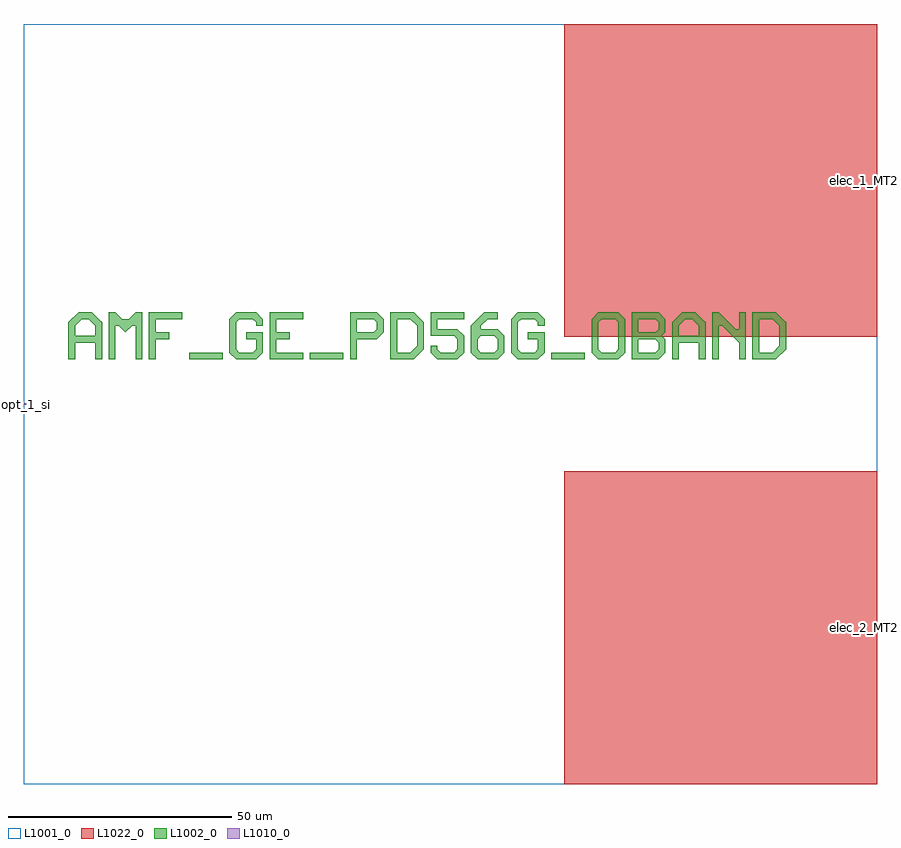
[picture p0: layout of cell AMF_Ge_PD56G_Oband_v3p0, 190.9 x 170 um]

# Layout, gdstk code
import gdstk
lib = gdstk.Library(unit=1e-6, precision=1e-09)
def R(c, l, rs):  # rectangles x0, y0, x1, y1
    for r in rs: c.add(gdstk.rectangle(r[:2], r[2:], *l))
def P(c, l, *ps):  # polygons
    for p in ps: c.add(gdstk.Polygon(p, *l))
L1001_0 = (1001, 0)
L1002_0 = (1002, 0)
L1010_0 = (1010, 0)
L1022_0 = (1022, 0)

amf_ge_pd56g_oband_v3p0 = lib.new_cell('AMF_Ge_PD56G_Oband_v3p0')
R(amf_ge_pd56g_oband_v3p0, L1001_0, [(0,-85,190.9,85)])
R(amf_ge_pd56g_oband_v3p0, L1002_0, [(37,10,44.5,11.5), (64,10,71.5,11.5), (118,10,125.5,11.5)])
P(amf_ge_pd56g_oband_v3p0, L1002_0, [(10,10),(10,18.25),(12.25,20.5),(15.25,20.5),(16.75,19),(13,19),(11.5,17.5),(11.5,15.25),(16,15.25),(16,17.5),(14.5,19),(16.75,19),(17.5,18.25),(17.5,10),(16,10),(16,13.75),(11.5,13.75),(11.5,10)],
  [(19,10),(19,20.5),(20.5,20.5),(22,19),(23.5,19),(25,20.5),(26.5,20.5),(26.5,10),(25,10),(25,17.5),(24.25,17.5),(22.75,16),(21.25,17.5),(20.5,17.5),(20.5,10)],
  [(28,10),(28,20.5),(35.5,20.5),(35.5,19),(29.5,19),(29.5,16),(32.5,16),(32.5,14.5),(29.5,14.5),(29.5,10)],
  [(47.5,10),(46,11.5),(46,19),(47.5,20.5),(52,20.5),(53.5,19),(53.5,17.5),(52,17.5),(52,18.25),(51.25,19),(48.25,19),(47.5,18.25),(47.5,12.25),(48.25,11.5),(51.25,11.5),(52,12.25),(52,14.5),(49.75,14.5),(49.75,16),(53.5,16),(53.5,11.5),(52,10)],
  [(55,10),(55,20.5),(62.5,20.5),(62.5,19),(56.5,19),(56.5,16),(59.5,16),(59.5,14.5),(56.5,14.5),(56.5,11.5),(62.5,11.5),(62.5,10)],
  [(73,10),(73,20.5),(79,20.5),(80.5,19),(80.5,16),(79,14.5),(74.5,14.5),(74.5,16),(78.25,16),(79,16.75),(79,18.25),(78.25,19),(74.5,19),(74.5,10)],
  [(82,10),(82,20.5),(87.25,20.5),(88.75,19),(83.5,19),(83.5,11.5),(86.5,11.5),(88,13),(88,17.5),(86.5,19),(88.75,19),(89.5,18.25),(89.5,12.25),(87.25,10)],
  [(92.5,10),(91,11.5),(91,13),(92.5,13),(92.5,12.25),(93.25,11.5),(96.25,11.5),(97,12.25),(97,14.5),(96.25,15.25),(91,15.25),(91,20.5),(98.5,20.5),(98.5,19),(92.5,19),(92.5,16.75),(97,16.75),(98.5,15.25),(98.5,11.5),(97,10)],
  [(101.5,10),(100,11.5),(100,17.5),(103,20.5),(106,20.5),(106,19),(103.75,19),(102.25,17.5),(102.25,16.75),(106,16.75),(107.5,15.25),(102.25,15.25),(101.5,14.5),(101.5,12.25),(102.25,11.5),(105.25,11.5),(106,12.25),(106,14.5),(105.25,15.25),(107.5,15.25),(107.5,11.5),(106,10)],
  [(110.5,10),(109,11.5),(109,19),(110.5,20.5),(115,20.5),(116.5,19),(116.5,17.5),(115,17.5),(115,18.25),(114.25,19),(111.25,19),(110.5,18.25),(110.5,12.25),(111.25,11.5),(114.25,11.5),(115,12.25),(115,14.5),(112.75,14.5),(112.75,16),(116.5,16),(116.5,11.5),(115,10)],
  [(128.5,10),(127,11.5),(127,19),(128.5,20.5),(133,20.5),(134.5,19),(134.5,15.25),(133,15.25),(133,18.25),(132.25,19),(129.25,19),(128.5,18.25),(128.5,12.25),(129.25,11.5),(132.25,11.5),(133,12.25),(133,15.25),(134.5,15.25),(134.5,11.5),(133,10)],
  [(136,10),(136,20.5),(142,20.5),(143.5,19),(137.5,19),(137.5,16),(141.25,16),(142,16.75),(142,18.25),(141.25,19),(143.5,19),(143.5,16),(142.75,15.25),(143.5,14.5),(137.5,14.5),(137.5,11.5),(141.25,11.5),(142,12.25),(142,13.75),(141.25,14.5),(143.5,14.5),(143.5,11.5),(142,10)],
  [(145,10),(145,18.25),(147.25,20.5),(150.25,20.5),(151.75,19),(148,19),(146.5,17.5),(146.5,15.25),(151,15.25),(151,17.5),(149.5,19),(151.75,19),(152.5,18.25),(152.5,10),(151,10),(151,13.75),(146.5,13.75),(146.5,10)],
  [(154,10),(154,20.5),(155.5,20.5),(159.25,16.75),(160,16.75),(160,20.5),(161.5,20.5),(161.5,10),(160,10),(160,13.75),(156.25,17.5),(155.5,17.5),(155.5,10)],
  [(163,10),(163,20.5),(168.25,20.5),(169.75,19),(164.5,19),(164.5,11.5),(167.5,11.5),(169,13),(169,17.5),(167.5,19),(169.75,19),(170.5,18.25),(170.5,12.25),(168.25,10)])
R(amf_ge_pd56g_oband_v3p0, L1010_0, [(0,-0.205,0.5,0.205)])
R(amf_ge_pd56g_oband_v3p0, L1022_0, [(120.9,-85,190.9,-15), (120.9,15,190.9,85)])
amf_ge_pd56g_oband_v3p0.add(gdstk.Label('opt_1_si', (0,0), layer=1010, texttype=0))
amf_ge_pd56g_oband_v3p0.add(gdstk.Label('elec_1_MT2', (190.9,50), layer=1022, texttype=0))
amf_ge_pd56g_oband_v3p0.add(gdstk.Label('elec_2_MT2', (190.9,-50), layer=1022, texttype=0))

lib.write_gds('AMF_Ge_PD56G_Oband_v3p0.gds')
